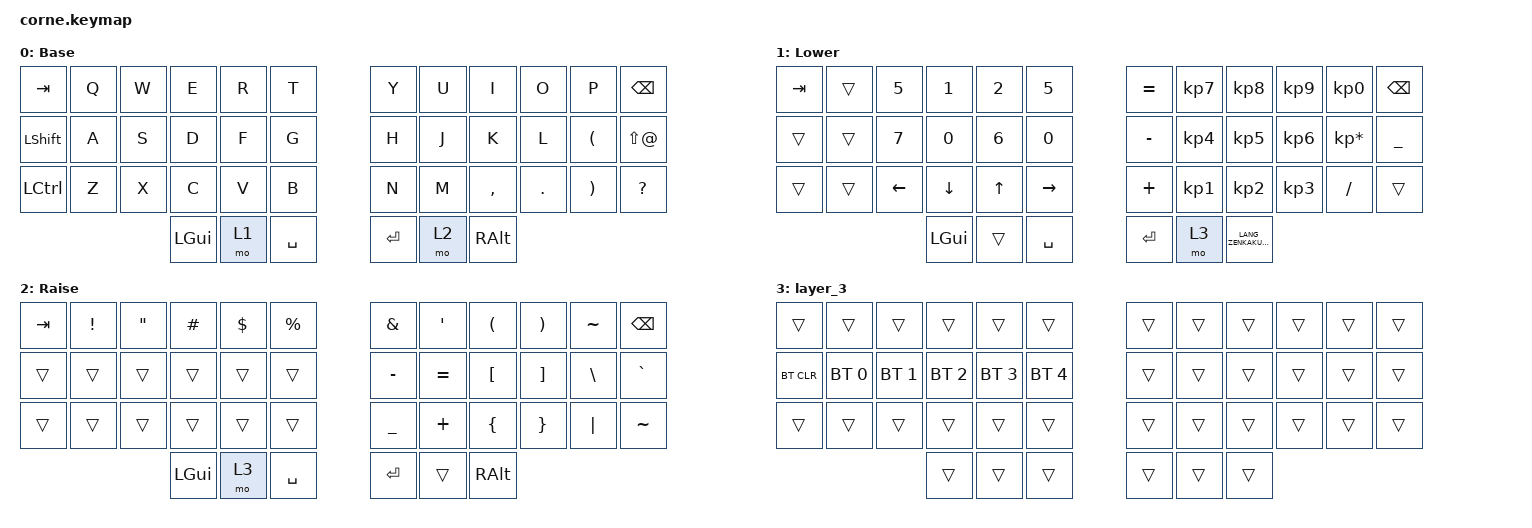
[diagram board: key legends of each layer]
/*
 * Copyright (c) 2020 The ZMK Contributors
 *
 * SPDX-License-Identifier: MIT
 */

#include <behaviors.dtsi>
#include <dt-bindings/zmk/bt.h>
#include <dt-bindings/zmk/keys.h>

/ {
    keymap {
        compatible = "zmk,keymap";

        default_layer {
            // -----------------------------------------------------------------------------------------
            // |  TAB |  Q  |  W  |  E  |  R  |  T  |   |  Y  |  U   |  I  |  O  |  P  | BKSP |
            // | CTRL |  A  |  S  |  D  |  F  |  G  |   |  H  |  J   |  K  |  L  |  ;  |  '   |
            // | SHFT |  Z  |  X  |  C  |  V  |  B  |   |  N  |  M   |  ,  |  .  |  /  | ESC  |
            //                    | GUI | LWR | SPC |   | ENT | RSE  | ALT |

            display-name = "Base";
            bindings = <
&kp TAB           &kp Q  &kp W  &kp E     &kp R  &kp T        &kp Y    &kp U  &kp I          &kp O    &kp P                  &kp BSPC
&kp LEFT_SHIFT    &kp A  &kp S  &kp D     &kp F  &kp G        &kp H    &kp J  &kp K          &kp L    &kp LEFT_PARENTHESIS   &kp LS(AT_SIGN)
&kp LEFT_CONTROL  &kp Z  &kp X  &kp C     &kp V  &kp B        &kp N    &kp M  &kp COMMA      &kp DOT  &kp RIGHT_PARENTHESIS  &kp QUESTION
                                &kp LGUI  &mo 1  &kp SPACE    &kp RET  &mo 2  &kp RIGHT_ALT
            >;
        };

        lower_layer {
            // -----------------------------------------------------------------------------------------
            // |  TAB |  1  |  2  |  3  |  4  |  5  |   |  6  |  7  |  8  |  9  |  0  | BKSP |
            // | BTCLR| BT1 | BT2 | BT3 | BT4 | BT5 |   | LFT | DWN |  UP | RGT |     |      |
            // | SHFT |     |     |     |     |     |   |     |     |     |     |     |      |
            //                    | GUI |     | SPC |   | ENT |     | ALT |

            display-name = "Lower";
            bindings = <
&kp TAB  &trans  &kp N5    &kp NUMBER_1    &kp NUMBER_2  &kp N5       &kp EQUAL  &kp KP_NUMBER_7  &kp KP_NUMBER_8          &kp KP_NUMBER_9  &kp KP_NUMBER_0  &kp BSPC
&trans   &trans  &kp N7    &kp N0          &kp NUMBER_6  &kp N0       &kp MINUS  &kp KP_NUMBER_4  &kp KP_NUMBER_5          &kp KP_NUMBER_6  &kp KP_MULTIPLY  &kp UNDERSCORE
&trans   &trans  &kp LEFT  &kp DOWN_ARROW  &kp UP_ARROW  &kp RIGHT    &kp PLUS   &kp KP_NUMBER_1  &kp KP_NUMBER_2          &kp KP_NUMBER_3  &kp SLASH        &trans
                           &kp LGUI        &trans        &kp SPACE    &kp RET    &mo 3            &kp LANG_ZENKAKUHANKAKU
            >;
        };

        raise_layer {
            // -----------------------------------------------------------------------------------------
            // |  TAB |  !  |  @  |  #  |  $  |  %  |   |  ^  |  &  |  *  |  (  |  )  | BKSP |
            // | CTRL |     |     |     |     |     |   |  -  |  =  |  [  |  ]  |  \  |  `   |
            // | SHFT |     |     |     |     |     |   |  _  |  +  |  {  |  }  | "|" |  ~   |
            //                    | GUI |     | SPC |   | ENT |     | ALT |

            display-name = "Raise";
            bindings = <
&kp TAB  &kp EXCL  &kp DOUBLE_QUOTES  &kp HASH  &kp DLLR  &kp PRCNT    &kp AMPERSAND  &kp SQT    &kp LEFT_PARENTHESIS  &kp RIGHT_PARENTHESIS  &kp TILDE  &kp BSPC
&trans   &trans    &trans             &trans    &trans    &trans       &kp MINUS      &kp EQUAL  &kp LBKT              &kp RBKT               &kp BSLH   &kp GRAVE
&trans   &trans    &trans             &trans    &trans    &trans       &kp UNDER      &kp PLUS   &kp LBRC              &kp RBRC               &kp PIPE   &kp TILDE
                                      &kp LGUI  &mo 3     &kp SPACE    &kp RET        &trans     &kp RALT
            >;
        };

        layer_3 {
            bindings = <
&trans      &trans        &trans        &trans        &trans        &trans          &trans  &trans  &trans  &trans  &trans  &trans
&bt BT_CLR  &bt BT_SEL 0  &bt BT_SEL 1  &bt BT_SEL 2  &bt BT_SEL 3  &bt BT_SEL 4    &trans  &trans  &trans  &trans  &trans  &trans
&trans      &trans        &trans        &trans        &trans        &trans          &trans  &trans  &trans  &trans  &trans  &trans
                                        &trans        &trans        &trans          &trans  &trans  &trans
            >;
        };
    };
};
